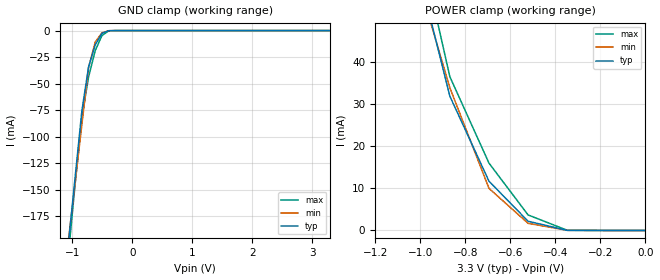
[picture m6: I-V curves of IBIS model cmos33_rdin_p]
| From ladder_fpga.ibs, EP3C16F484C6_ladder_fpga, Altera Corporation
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[Model] cmos33_rdin_p
Model_type Input
Polarity Non-Inverting
Vinl  = 0.8V
Vinh  = 1.7V
C_comp  5.0pF   5.0pF   5.0pF
[Temperature Range] 25   85   0
[Voltage Range]   3.3   3.085   3.465
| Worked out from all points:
|   GND clamp passes 1 mA (typ) near -0.43 V on its own axis
|   POWER clamp passes 1 mA (typ) near -0.43 V on its own axis
[GND Clamp]
| voltage   I (typ)   I (min)   I (max)
-3.3V     -1.449A    -1.286A    -1.533A
-1.063V   -200.8mA   -197.7mA   -211mA
-950.8mV  -138.4mA   -143.3mA   -144.9mA
-839mV    -75.96mA   -88.9mA    -82.12mA
-727.1mV  -34.33mA   -34.92mA   -43.75mA
-615.2mV  -13.39mA   -10.72mA   -18.82mA
-503.4mV  -2.65mA    -2.136mA   -4.609mA
-391.5mV  -131.9uA   -144.3uA   -303.1uA
-279.7mV  -2.495uA   -5.275uA   -4.791uA
3.3V      0A         0A         0A
[POWER Clamp]
| voltage   I (typ)   I (min)   I (max)
-3.3V     540.7mA    475.5mA    598.1mA
-1.042V   69.25mA    65.55mA    77.81mA
-868.4mV  31.96mA    33.97mA    36.61mA
-694.7mV  11.73mA    10.02mA    16.03mA
-521.1mV  2.195mA    1.705mA    3.697mA
-347.4mV  26.63uA    39.34uA    52.6uA
0V        0A         0A         0A
